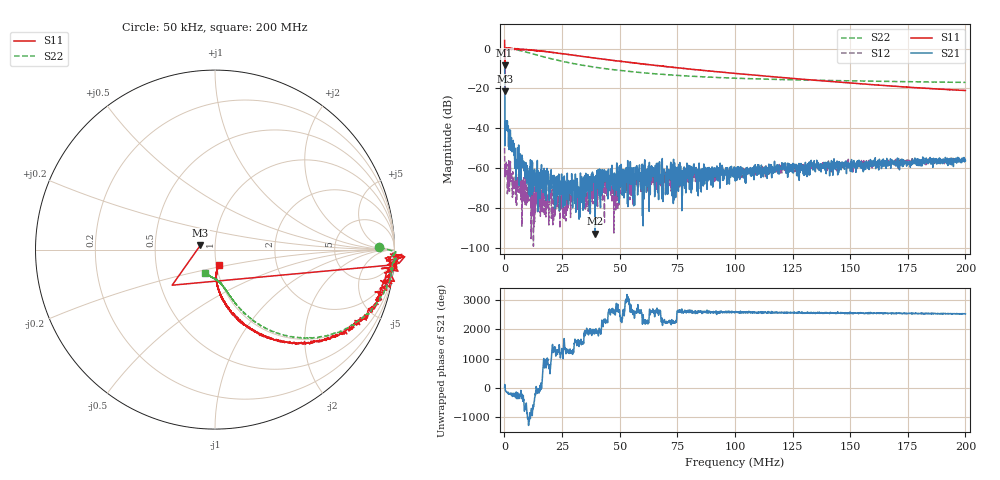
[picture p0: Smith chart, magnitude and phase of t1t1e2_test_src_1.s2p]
! 27-Aug-26 2:21:54 PM
! E:\20260827_VNA\T1T1E2_TEST_SRC_1.S2P
! CHANNEL.1
! TR.MEASUREMENT
! CORRECTED.DATA
# GHZ S RI R 50.0
! FREQ.GHZ  S11RE  S11IM  S21RE  S21IM  S12RE  S12IM  S22RE  S22IM
!; PortSelection: Port_12
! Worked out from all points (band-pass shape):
!   2000 points, 50 kHz to 200 MHz, reference 50 ohm
!   highest |S21| = -8.29 dB at 50 kHz (marker M1); lowest = -93.1 dB at 39.26 MHz (marker M2)
!   |S21| within 3 dB of the highest: start of sweep to 156 kHz
!   lowest |S11| = -21.4 dB at 150 kHz (marker M3), VSWR 1.19, Z = 42.4 + j1.97 ohm
!   |S11| at or under -10 dB: 105.4 kHz to 251.7 kHz (146.3 kHz wide, 81.9 % of centre); 78.21 MHz to end of sweep
!   |S22| runs from -17.0 to 0.1 dB; largest |S21 - S12| = 0.38
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5e-05  0.6661 1.462  0.3651 0.1218  0.00211 0.00241  0.9146 0.0136
0.000150025  -0.0823 0.0231  -0.1385 0.3308  -6.39e-05 0.000899  1.008 -0.0128
0.001150275  0.9784 -0.048  -0.00954 -0.00216  -0.000539 -0.000568  0.9866 -0.0854
0.005751426  0.9299 -0.2023  -0.00137 -0.000371  -0.000355 0.000455  0.8471 -0.3543
0.007851951  0.9133 -0.2499  0.000223 0.000995  -0.000243 -2.42e-05  0.7515 -0.431
0.01215303  0.8292 -0.389  0.000352 -0.00133  6.51e-05 1.7e-05  0.5563 -0.4899
0.02195548  0.6025 -0.5016  2.66e-05 -0.000249  -7.29e-05 9.35e-05  0.2889 -0.4399
0.03345835  0.3876 -0.511  -0.000321 0.000517  -0.000166 1.6e-05  0.1609 -0.3519
0.03925981  0.3054 -0.4927  3.8e-06 2.19e-05  -0.000222 0.000269  0.1282 -0.3171
0.0420605  0.2742 -0.48  -0.000158 -0.000133  -0.000142 0.000198  0.116 -0.302
0.04346085  0.2578 -0.4685  -0.000432 0.000143  -0.000148 0.000399  0.111 -0.2957
0.05266316  0.1795 -0.4281  -0.000401 0.000179  -3.16e-05 0.000664  0.0834 -0.2602
0.05466366  0.163 -0.4151  0.000455 0.00126  9.71e-05 0.000369  0.0794 -0.2537
0.05706426  0.1519 -0.4002  0.000559 0.000856  5.9e-05 0.000384  0.0748 -0.2456
0.05776443  0.1422 -0.4024  -0.000183 0.000104  -0.00012 0.000313  0.0736 -0.2438
0.05966491  0.1303 -0.3975  0.000207 -0.00109  -8.79e-05 0.000454  0.0692 -0.2393
0.06166541  0.1275 -0.3805  0.000263 0.00054  -9.93e-05 0.000485  0.067 -0.234
0.06676668  0.0967 -0.3616  -2.42e-05 0.000761  0.000148 0.000514  0.059 -0.2233
0.100075  0.024 -0.2379  6.51e-05 0.000625  0.000262 0.000751  0.0221 -0.1796
0.1333833  0.00689 -0.1632  0.000989 0.000619  0.000724 0.000764  -0.00386 -0.1615
0.1666917  0.0106 -0.1157  0.00127 0.000635  0.00126 0.000736  -0.0296 -0.1478
0.2  0.0226 -0.0859  0.00152 0.000222  0.00155 0.000343  -0.0553 -0.1305
